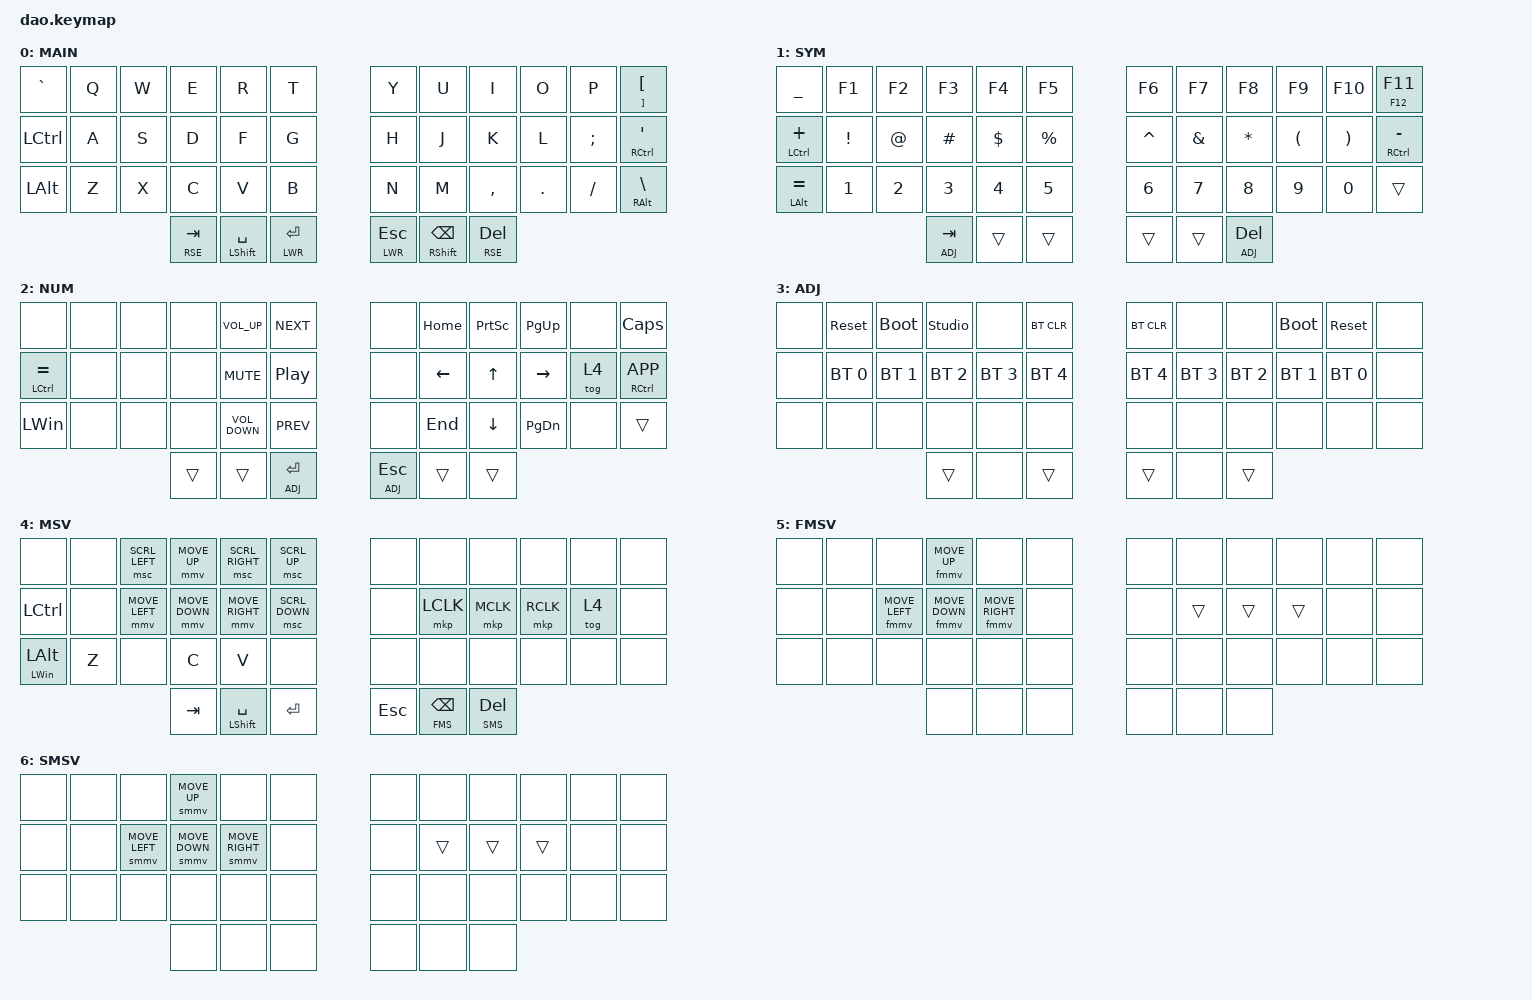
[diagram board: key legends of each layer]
/*
 * Copyright (c) 2021 Rafael Yumagulov
 *
 * SPDX-License-Identifier: MIT
 */

#include <behaviors.dtsi>
#include <dt-bindings/zmk/keys.h>
#include <dt-bindings/zmk/bt.h>

#define ZMK_POINTING_DEFAULT_MOVE_VAL 450
#define ZMK_POINTING_DEFAULT_SCRL_VAL 1

#include <dt-bindings/zmk/pointing.h>

#include <input/processors.dtsi>

#define DEF 0
#define LWR 1
#define RSE 2
#define ADJ 3
#define MSV 4
#define FMS 5
#define SMS 6

&lt { quick_tap_ms = <350>; };
&mt { quick_tap_ms = <350>; };

&mmv {
    x-input-code = <INPUT_REL_X>;
    y-input-code = <INPUT_REL_Y>;
    time-to-max-speed-ms = <200>;
    acceleration-exponent = <2>;
};

&msc {
    x-input-code = <INPUT_REL_HWHEEL>;
    y-input-code = <INPUT_REL_WHEEL>;
    time-to-max-speed-ms = <50>;
    acceleration-exponent = <2>;
    trigger-period-ms = <4>;
};

/ {

        behaviors {
                fmmv: fast_mouse_move {
                        compatible = "zmk,behavior-input-two-axis";
                        #binding-cells = <1>;
                        x-input-code = <INPUT_REL_X>;
                        y-input-code = <INPUT_REL_Y>;
                        time-to-max-speed-ms = <200>;
                        acceleration-exponent = <1>;
                };
                smmv: slow_mouse_move {
                    compatible = "zmk,behavior-input-two-axis";
                        #binding-cells = <1>;
                        x-input-code = <INPUT_REL_X>;
                        y-input-code = <INPUT_REL_Y>;
                        time-to-max-speed-ms = <200>;
                        acceleration-exponent = <1>;
                };
        };

        fmmv_input_listener: fmmv_input_listener {
                input-processors = <&zip_xy_scaler 4 1>;
                compatible = "zmk,input-listener";
                device = <&fmmv>;
        };
        smmv_input_listener: smmv_input_listener {
                input-processors = <&zip_xy_scaler 1 3>;
                compatible = "zmk,input-listener";
                device = <&smmv>;
        };

        keymap {
                compatible = "zmk,keymap";

                default_layer {
                        display-name = "MAIN";
                        bindings = <
        &kp GRAVE     &kp Q  &kp W  &kp E        &kp R            &kp T          &kp Y        &kp U           &kp I        &kp O    &kp P     &mt RBKT LBKT
        &kp LCTRL     &kp A  &kp S  &kp D        &kp F            &kp G          &kp H        &kp J           &kp K        &kp L    &kp SEMI  &mt RCTRL SQT
        &kp LEFT_ALT  &kp Z  &kp X  &kp C        &kp V            &kp B          &kp N        &kp M           &kp COMMA    &kp DOT  &kp FSLH  &mt RALT BSLH
                                    &lt RSE TAB  &mt LSHFT SPACE  &lt LWR RET    &lt LWR ESC  &mt RSHFT BSPC  &lt RSE DEL
                        >;
                };
                lower_layer {
                        display-name = "SYM";
                        bindings = <
        &kp UNDER       &kp F1    &kp F2  &kp F3       &kp F4    &kp F5       &kp F6     &kp F7    &kp F8       &kp F9    &kp F10   &mt F12 F11
        &mt LCTRL PLUS  &kp EXCL  &kp AT  &kp HASH     &kp DLLR  &kp PRCNT    &kp CARET  &kp AMPS  &kp STAR     &kp LPAR  &kp RPAR  &mt RCTRL MINUS
        &mt LALT EQUAL  &kp N1    &kp N2  &kp N3       &kp N4    &kp N5       &kp N6     &kp N7    &kp N8       &kp N9    &kp N0    &trans
                                          &lt ADJ TAB  &trans    &trans       &trans     &trans    &lt ADJ DEL
                        >;
                };

                raise_layer {
                        display-name = "NUM";
                        bindings = <
        &none            &none  &none  &none   &kp C_VOLUME_UP    &kp C_NEXT          &none        &kp HOME  &kp PSCRN  &kp PG_UP  &none   &kp CAPS
        &mt LCTRL EQUAL  &none  &none  &none   &kp C_MUTE         &kp C_PLAY_PAUSE    &none        &kp LEFT  &kp UP     &kp RIGHT  &tog 4  &mt RCTRL K_APP
        &kp LWIN         &none  &none  &none   &kp C_VOLUME_DOWN  &kp C_PREV          &none        &kp END   &kp DOWN   &kp PG_DN  &none   &trans
                                       &trans  &trans             &lt ADJ RET         &lt ADJ ESC  &trans    &trans
                        >;
                };
                adjust_layer {
                        display-name = "ADJ";
                        bindings = <
        &none   &sys_reset      &bootloader     &studio_unlock  &none         &bt BT_CLR      &bt BT_CLR    &none         &none         &bootloader   &sys_reset    &none      
        &none   &bt BT_SEL 0    &bt BT_SEL 1    &bt BT_SEL 2    &bt BT_SEL 3  &bt BT_SEL 4    &bt BT_SEL 4  &bt BT_SEL 3  &bt BT_SEL 2  &bt BT_SEL 1  &bt BT_SEL 0  &none
        &none   &none           &none           &none           &none         &none           &none         &none         &none         &none         &none         &none
                                                &trans          &none         &trans          &trans        &none         &trans
                        >;
                };

                mouse_layer {
                        display-name = "MSV";
                        bindings = <
        &none                   &none   &msc SCRL_LEFT  &mmv MOVE_UP    &msc SCRL_RIGHT    &msc SCRL_UP      &none              &none      &none      &none      &none      &none
        &kp LCTRL               &none   &mmv MOVE_LEFT  &mmv MOVE_DOWN  &mmv MOVE_RIGHT    &msc SCRL_DOWN    &none              &mkp LCLK  &mkp MCLK  &mkp RCLK  &tog 4     &none
        &mt LWIN LEFT_ALT       &kp Z   &none           &kp C           &kp V              &none             &none              &none      &none      &none      &none      &none
                                        &kp TAB         &mt LSHFT SPACE &kp RET            &kp ESC           &lt FMS BSPC       &lt SMS DEL
            >;
        };
                fast_mouse_layer {
                        display-name = "FMSV";
                        bindings = <
        &none   &none   &none               &fmmv MOVE_UP   &none               &none       &none   &none   &none   &none   &none    &none
        &none   &none   &fmmv MOVE_LEFT     &fmmv MOVE_DOWN &fmmv MOVE_RIGHT    &none       &none   &trans  &trans  &trans  &none    &none
        &none   &none   &none               &none           &none               &none       &none   &none   &none   &none   &none    &none
                                            &none           &none               &none       &none   &none   &none
            >;
        };

                slow_mouse_layer {
                        display-name = "SMSV";
                        bindings = <
        &none   &none   &none               &smmv MOVE_UP   &none               &none       &none   &none   &none   &none   &none    &none
        &none   &none   &smmv MOVE_LEFT     &smmv MOVE_DOWN &smmv MOVE_RIGHT    &none       &none   &trans  &trans  &trans  &none    &none
        &none   &none   &none               &none           &none               &none       &none   &none   &none   &none   &none    &none
                                            &none           &none               &none       &none   &none   &none
            >;
        };
        };
};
